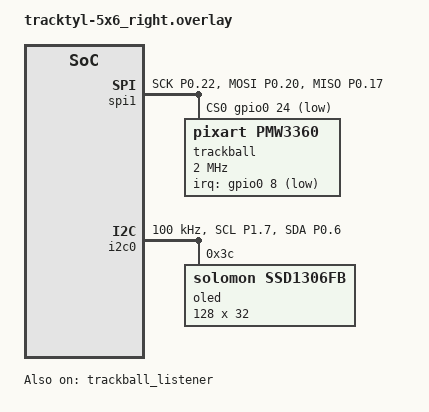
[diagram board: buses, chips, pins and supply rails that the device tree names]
#include "tracktyl-5x6.dtsi"
#include <input/processors.dtsi>
#include <zephyr/dt-bindings/input/input-event-codes.h>

/ {
    chosen {
        zephyr,display = &oled;
    };
};

&default_transform {
    col-offset = <6>;
};

&kscan0 {
    col-gpios
        = <&pro_micro_a 3 GPIO_ACTIVE_HIGH>
        , <&pro_micro_a 2 GPIO_ACTIVE_HIGH>
        , <&pro_micro_d 6 GPIO_ACTIVE_HIGH>
        , <&pro_micro_d 7 GPIO_ACTIVE_HIGH>
        , <&pro_micro_d 8 GPIO_ACTIVE_HIGH>
        , <&pro_micro_d 9 GPIO_ACTIVE_HIGH>
        ;

};

&pinctrl {
    spi1_default: spi1_default {
        group1 {
            psels = <NRF_PSEL(SPIM_SCK, 0, 22)>,
                <NRF_PSEL(SPIM_MOSI, 0, 20)>,
                <NRF_PSEL(SPIM_MISO, 0, 17)>;
        };
    };

    spi1_sleep: spi1_sleep {
        group1 {
            psels = <NRF_PSEL(SPIM_SCK, 0, 22)>,
                <NRF_PSEL(SPIM_MOSI, 0, 20)>,
                <NRF_PSEL(SPIM_MISO, 0, 17)>;
            low-power-enable;
        };
    };

    i2c0_default: i2c0_default {
        group1 {
            psels = <NRF_PSEL(TWIM_SCL, 1, 7)>,
                <NRF_PSEL(TWIM_SDA, 0, 6)>;
        };
    };

    i2c0_sleep: i2c0_sleep {
        group1 {
            psels = <NRF_PSEL(TWIM_SCL, 1, 7)>,
                <NRF_PSEL(TWIM_SDA, 0, 6)>;
            low-power-enable;
        };
    };
};

&spi1 {
    status = "okay";
    compatible = "nordic,nrf-spim";
    pinctrl-0 = <&spi1_default>;
    pinctrl-1 = <&spi1_sleep>;
    pinctrl-names = "default", "sleep";
    cs-gpios = <&gpio0 24 GPIO_ACTIVE_LOW>;

    trackball: trackball@0 {
        status = "okay";
        compatible = "pixart,pmw3360";
        reg = <0>;
        spi-max-frequency = <2000000>;
        irq-gpios = <&gpio0 8 (GPIO_ACTIVE_LOW | GPIO_PULL_UP)>;
        scroll-layers = <3>;
        snipe-layers = <4>;
    };
};

&trackball_listener {
    status = "okay";
    device = <&trackball>;
    input-processors = <&zip_temp_layer 2 1000>;

    scroller {
        layers = <3>;
        input-processors = <&zip_xy_to_scroll_mapper>;
        process-next;
    };
};

&i2c0 {
    status = "okay";
    compatible = "nordic,nrf-twim"; // Good practice to include compatible
    clock-frequency = <I2C_BITRATE_STANDARD>; // Or I2C_BITRATE_FAST (400kHz)
    pinctrl-0 = <&i2c0_default>;
    pinctrl-1 = <&i2c0_sleep>;
    pinctrl-names = "default", "sleep";

    // Increase internal buffer size. Needs >= 100 bytes based on error.
    // 128 is a reasonable value.
    zephyr,concat-buf-size = <300>;

    oled: ssd1306@3c {
        compatible = "solomon,ssd1306fb";
        reg = <0x3c>;
        width = <128>;
        height = <32>;
        segment-offset = <0>;
        page-offset = <0>;
        display-offset = <0>;
        multiplex-ratio = <31>;
        segment-remap;
        com-invdir;
        com-sequential;
        prechargep = <0x22>;
    };
};
